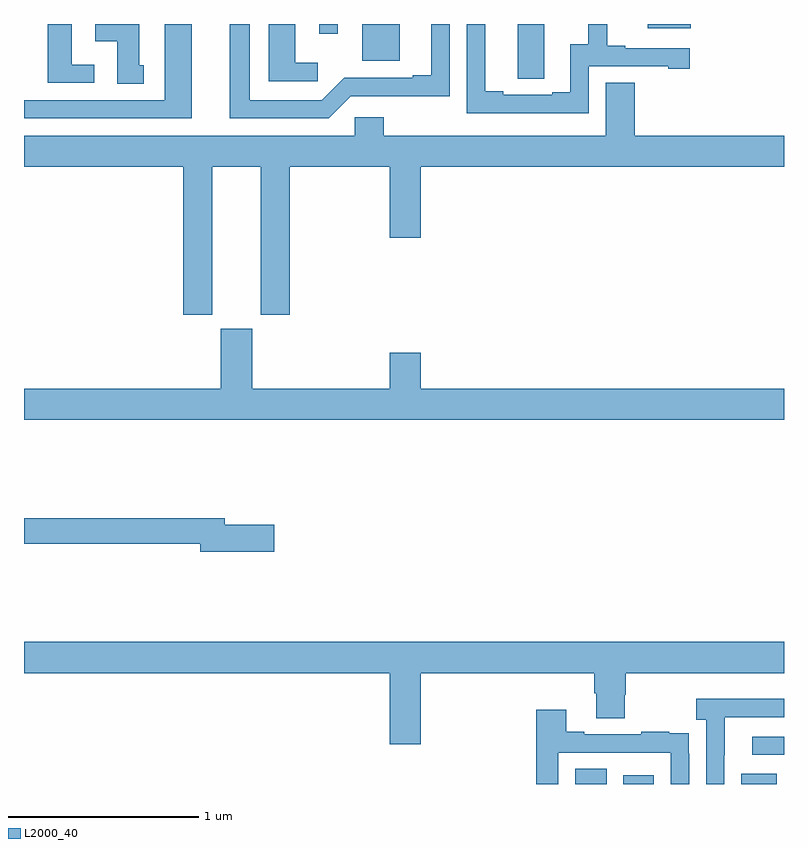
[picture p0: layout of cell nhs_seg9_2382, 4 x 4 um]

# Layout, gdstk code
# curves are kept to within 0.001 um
import gdstk
lib = gdstk.Library(unit=1e-6, precision=1e-09)
def R(c, l, rs):  # rectangles x0, y0, x1, y1
    for r in rs: c.add(gdstk.rectangle(r[:2], r[2:], *l))
def P(c, l, *ps):  # polygons
    for p in ps: c.add(gdstk.Polygon(p, *l))
L2000_40 = (2000, 40)

nhs_seg9_2382 = lib.new_cell('nhs_seg9_2382')
R(nhs_seg9_2382, L2000_40, [(249.902,1198.5,250.066,1198.58), (250.154,1198.5,250.315,1198.546), (250.775,1198.5,250.963,1198.555), (250.833,1198.653,251,1198.749), (248.78,1202.306,248.977,1202.5), (248.553,1202.448,248.65,1202.5), (250.283,1202.477,250.51,1202.5)])
P(nhs_seg9_2382, L2000_40, [(249.738,1202.32),(249.739,1202.32),(249.739,1202.5),(249.599,1202.5),(249.599,1202.212),(249.738,1202.212)],
  [(249.972,1202.277),(250.391,1202.277),(250.391,1202.265),(250.504,1202.265),(250.504,1202.373),(250.165,1202.373),(250.165,1202.386),(250.07,1202.386),(250.07,1202.5),(249.97,1202.5),(249.97,1202.393),(249.875,1202.393),(249.875,1202.142),(249.779,1202.142),(249.779,1202.127),(249.523,1202.127),(249.523,1202.147),(249.427,1202.147),(249.427,1202.5),(249.33,1202.5),(249.33,1202.031),(249.972,1202.031)],
  [(247.882,1202.5),(247.742,1202.5),(247.742,1202.1),(247,1202.1),(247,1202.004),(247.882,1202.004)],
  [(248.545,1202.296),(248.428,1202.296),(248.428,1202.5),(248.288,1202.5),(248.288,1202.199),(248.545,1202.199)],
  [(247.63,1202.283),(247.606,1202.283),(247.606,1202.5),(247.376,1202.5),(247.376,1202.408),(247.49,1202.408),(247.49,1202.185),(247.63,1202.185)],
  [(248.721,1202.121),(249.24,1202.12),(249.24,1202.5),(249.143,1202.5),(249.143,1202.23),(249.047,1202.23),(249.047,1202.217),(248.685,1202.217),(248.568,1202.1),(248.188,1202.1),(248.188,1202.5),(248.084,1202.5),(248.084,1202.004),(248.604,1202.004)],
  [(247.369,1202.286),(247.252,1202.286),(247.252,1202.5),(247.124,1202.5),(247.124,1202.19),(247.369,1202.19)],
  [(247.99,1201.748),(248.246,1201.748),(248.246,1200.969),(248.399,1200.969),(248.399,1201.748),(248.924,1201.748),(248.924,1201.374),(249.088,1201.374),(249.088,1201.748),(251,1201.748),(251,1201.912),(250.214,1201.912),(250.214,1202.192),(250.061,1202.192),(250.061,1201.912),(248.894,1201.912),(248.894,1202.01),(248.742,1202.01),(248.742,1201.912),(247,1201.912),(247,1201.748),(247.838,1201.748),(247.838,1200.969),(247.99,1200.969)],
  [(251,1200.58),(249.088,1200.58),(249.088,1200.769),(248.924,1200.769),(248.924,1200.58),(248.2,1200.58),(248.2,1200.897),(248.036,1200.897),(248.036,1200.58),(247,1200.58),(247,1200.416),(251,1200.416)],
  [(248.317,1199.864),(248.056,1199.864),(248.056,1199.9),(247,1199.9),(247,1199.764),(247.928,1199.764),(247.928,1199.722),(248.317,1199.722)],
  [(249.088,1199.084),(250.001,1199.084),(250.001,1198.978),(250.013,1198.978),(250.013,1198.846),(250.161,1198.846),(250.161,1198.971),(250.166,1198.971),(250.166,1199.084),(251,1199.084),(251,1199.248),(247,1199.248),(247,1199.084),(248.924,1199.084),(248.924,1198.71),(249.088,1198.71)],
  [(250.686,1198.651),(250.687,1198.651),(250.687,1198.851),(251,1198.851),(251,1198.948),(250.539,1198.948),(250.539,1198.838),(250.59,1198.838),(250.59,1198.5),(250.686,1198.5)],
  [(249.813,1198.665),(250.404,1198.665),(250.404,1198.5),(250.5,1198.5),(250.5,1198.658),(250.499,1198.658),(250.499,1198.767),(250.397,1198.767),(250.397,1198.774),(250.249,1198.774),(250.249,1198.761),(249.949,1198.761),(249.949,1198.774),(249.853,1198.774),(249.853,1198.891),(249.697,1198.891),(249.697,1198.5),(249.813,1198.5)])

lib.write_gds('nhs_seg9_2382.gds')
